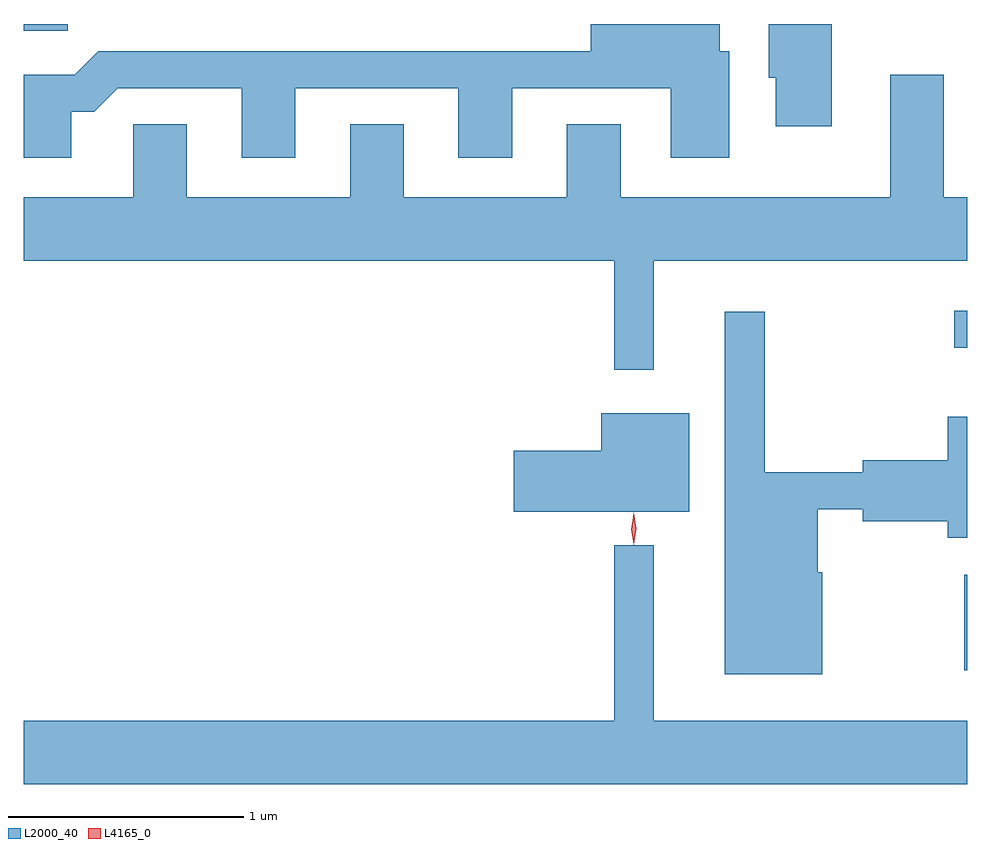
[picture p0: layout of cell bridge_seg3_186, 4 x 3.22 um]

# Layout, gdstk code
import gdstk
lib = gdstk.Library(unit=1e-6, precision=1e-09)
def R(c, l, rs):  # rectangles x0, y0, x1, y1
    for r in rs: c.add(gdstk.rectangle(r[:2], r[2:], *l))
def P(c, l, *ps):  # polygons
    for p in ps: c.add(gdstk.Polygon(p, *l))
L2000_40 = (2000, 40)
L4165_0 = (4165, 0)

bridge_seg3_186 = lib.new_cell('bridge_seg3_186')
R(bridge_seg3_186, L2000_40, [(880.246,1137.598,880.258,1138.004), (880.203,1138.966,880.258,1139.124), (876.258,1140.311,876.444,1140.339)])
P(bridge_seg3_186, L2000_40, [(879.684,1140.339),(879.416,1140.339),(879.416,1140.111),(879.446,1140.111),(879.446,1139.906),(879.684,1139.906)],
  [(876.459,1139.966),(876.557,1139.966),(876.657,1140.066),(877.181,1140.066),(877.181,1139.771),(877.409,1139.771),(877.409,1140.066),(878.101,1140.066),(878.101,1139.771),(878.329,1139.771),(878.329,1140.066),(879.001,1140.066),(879.001,1139.771),(879.249,1139.771),(879.249,1140.224),(879.209,1140.224),(879.209,1140.339),(878.661,1140.339),(878.661,1140.224),(876.574,1140.224),(876.474,1140.124),(876.258,1140.124),(876.258,1139.771),(876.459,1139.771)],
  [(878.929,1139.336),(880.258,1139.336),(880.258,1139.604),(880.159,1139.604),(880.159,1140.124),(879.931,1140.124),(879.931,1139.604),(878.789,1139.604),(878.789,1139.914),(878.561,1139.914),(878.561,1139.604),(877.869,1139.604),(877.869,1139.914),(877.641,1139.914),(877.641,1139.604),(876.949,1139.604),(876.949,1139.914),(876.721,1139.914),(876.721,1139.604),(876.258,1139.604),(876.258,1139.336),(878.761,1139.336),(878.761,1138.873),(878.929,1138.873)],
  [(879.644,1138.014),(879.624,1138.014),(879.624,1138.281),(879.816,1138.281),(879.816,1138.231),(880.176,1138.231),(880.176,1138.161),(880.258,1138.161),(880.258,1138.674),(880.176,1138.674),(880.176,1138.489),(879.816,1138.489),(879.816,1138.439),(879.399,1138.439),(879.399,1139.118),(879.231,1139.118),(879.231,1137.581),(879.644,1137.581)],
  [(879.079,1138.689),(878.706,1138.689),(878.706,1138.529),(878.336,1138.529),(878.336,1138.271),(879.079,1138.271)],
  [(880.258,1137.384),(878.929,1137.384),(878.929,1138.128),(878.761,1138.128),(878.761,1137.384),(876.258,1137.384),(876.258,1137.116),(880.258,1137.116)])
P(bridge_seg3_186, L4165_0, [(878.844,1138.13),(878.835,1138.198),(878.844,1138.266),(878.844,1138.266),(878.845,1138.266),(878.855,1138.198),(878.845,1138.13),(878.845,1138.13)],
  [(878.844,1138.133),(878.834,1138.196),(878.844,1138.26),(878.844,1138.26),(878.845,1138.26),(878.854,1138.196),(878.845,1138.133),(878.845,1138.133)])

lib.write_gds('bridge_seg3_186.gds')
